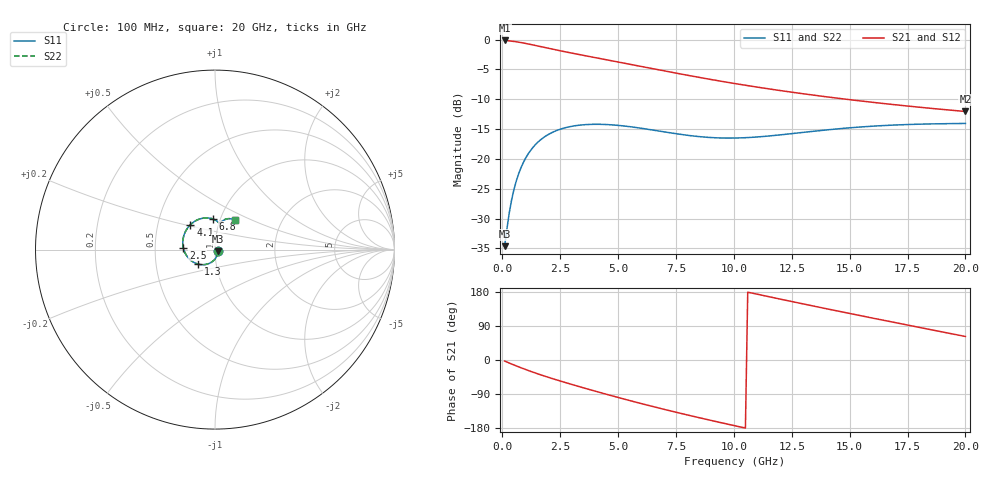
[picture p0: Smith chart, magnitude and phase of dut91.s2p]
! Touchstone file exported from HFSS 2023.1.0
!  File:  D:/Users/fzz/RDL_TSV/temp_RDL_TSV_91_1778748397.aedt
!  Generated:  4:57:07 %x4E0B%x5348  5%x6708 14, 2026
!  Design:  RDL_TSV
!  Project:  temp_RDL_TSV_91_1778748397
!  Setup:  Setup1
!  Solution:  Sweep
! Variables:
!  dtsv = 15.13um
!  hbump = 3um
!  htsv = 98.6um
!  ldown = 683.13um
!  lrdl = 568.17um
!  p = 40
!  p1 = 40.8um
!  rhole = 10um
!  subl = 4322.07um
!  t = 450um
!  tdown = 3.72um
!  trdl = 3.49um
!  viad = 10um
!  wdown = 27.71um
!  wrdl = 28.75um
!  xbump = 18um
# GHz S MA R 50.000000
! Terminal data exported
! Port[1] = TM1_1_T1
! Port[2] = TM1_4_T1
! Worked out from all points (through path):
!   200 points, 100 MHz to 20 GHz, reference 50 ohm
!   highest |S21| = -0.15 dB at 100 MHz (marker M1); lowest = -12.1 dB at 20 GHz (marker M2)
!   group delay of S21, straight-line fit = 39.5 ps
!   lowest |S11| = -34.6 dB at 100 MHz (marker M3), VSWR 1.04, Z = 51.6 - j1.06 ohm
!   |S11| at or under -10 dB: start of sweep to end of sweep
!   |S22| runs from -34.6 to -14.0 dB; largest |S21 - S12| = 9.7e-15
!   S11 on the Smith chart (normalised r, x): 100 MHz: 1.03, -0.02; 1.3 GHz: 0.82, -0.14; 2.5 GHz: 0.70, +0.02; 4.1 GHz: 0.73, +0.21; 6.8 GHz: 0.92, +0.32; 20 GHz: 1.18, +0.40
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0.1  0.01856 -33.8  0.983 -2.7  0.983 -2.7  0.01856 -33.8
! Gamma 0 0 0 0
! Port Impedance 50 0 50 0
0.3  0.03518 -71.7  0.9753 -8.0  0.9753 -8.0  0.03518 -71.7
0.4  0.04507 -82.9  0.9704 -10.5  0.9704 -10.5  0.04506 -82.9
0.6  0.06488 -99.7  0.9588 -15.5  0.9588 -15.5  0.06486 -99.7
0.9  0.09242 -118.5  0.9372 -22.6  0.9372 -22.6  0.09238 -118.6
1.3  0.1232 -138.6  0.9036 -31.6  0.9036 -31.6  0.1231 -138.7
1.8  0.1519 -159.5  0.8605 -42.0  0.8605 -42.0  0.1518 -159.5
2.5  0.1773 176.2  0.8052 -55.4  0.8052 -55.4  0.1772 176.2
3.5  0.1931 148.4  0.7375 -73.4  0.7375 -73.4  0.193 148.3
4.1  0.195 134.5  0.7009 -83.7  0.7009 -83.7  0.1949 134.5
4.8  0.1924 120.7  0.6604 -95.6  0.6604 -95.6  0.1923 120.7
5.5  0.1863 109.2  0.6218 -107.0  0.6218 -107.0  0.1862 109.2
6.8  0.1708 93.7  0.5557 -127.4  0.5557 -127.4  0.1706 93.7
7.5  0.1626 88.1  0.5235 -137.8  0.5235 -137.8  0.1625 88.2
8.3  0.1551 83.9  0.4899 -149.4  0.4899 -149.4  0.1551 84.0
10.1  0.1496 79.8  0.4261 -174.3  0.4261 -174.3  0.1497 79.9
11.8  0.1575 77.4  0.3788 163.3  0.3788 163.3  0.1579 77.6
13.4  0.1701 73.9  0.343 142.8  0.343 142.8  0.1708 74.0
15  0.1822 69.2  0.3136 122.8  0.3136 122.8  0.1831 69.2
16.7  0.1913 63.9  0.2878 101.9  0.2878 101.9  0.1924 63.9
18.3  0.196 59.5  0.2676 82.5  0.2676 82.5  0.1973 59.3
20  0.1981 55.8  0.2497 62.1  0.2497 62.1  0.1994 55.6
